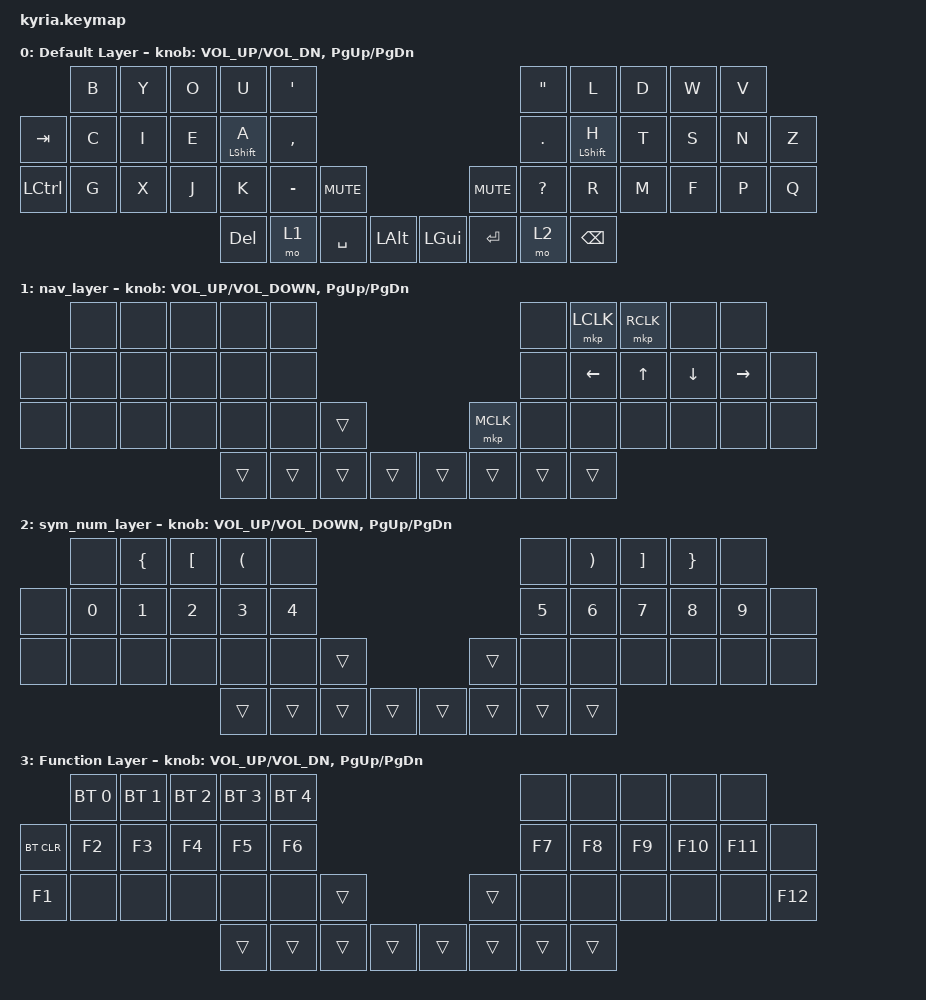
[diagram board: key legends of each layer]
/*
 * Copyright (c) 2020 The ZMK Contributors
 *
 * SPDX-License-Identifier: MIT
 */

#include <behaviors.dtsi>
#include <dt-bindings/zmk/bt.h>
#include <dt-bindings/zmk/keys.h>
#include <dt-bindings/zmk/pointing.h>

/ {
    behaviors {
        hm: homerow_mods {
            compatible = "zmk,behavior-hold-tap";
            label = "HOMEROW_MODS";
            bindings = <&kp>, <&kp>;

            #binding-cells = <2>;
            tapping-term-ms = <150>;
            flavor = "tap-preferred";
        };
    };

    keymap {
        compatible = "zmk,keymap";

        default_layer {
            display-name = "Default Layer";

            // ---------------------------------------------------------------------------------------------------------------------------------
            // |  ESC  |  Q  |  W  |  E   |  R   |  T   |                                          |  Y   |  U    |  I    |  O   |   P   |   \  |
            // |  TAB  |  A  |  S  |  D   |  F   |  G   |                                          |  H   |  J    |  K    |  L   |   ;   |   '  |
            // | SHIFT |  Z  |  X  |  C   |  V   |  B   | L SHIFT | L SHIFT |  | LAYER 1 | L SHIFT |  N   |  M    |  ,    |  .   |   /   | CTRL |
            //                     | GUI  | DEL  | RET  |  SPACE  |   ESC   |  |   RET   |  SPACE  | TAB  | BSPC  | R-ALT |

            bindings = <
                  &kp B  &kp Y  &kp O  &kp U        &kp SQT                                                  &kp DQT       &kp L          &kp D  &kp W  &kp V
&kp TAB           &kp C  &kp I  &kp E  &hm LSHFT A  &kp COMMA                                                &kp DOT       &hm LSHIFT H   &kp T  &kp S  &kp N  &kp Z
&kp LEFT_CONTROL  &kp G  &kp X  &kp J  &kp K        &kp MINUS  &kp K_MUTE                        &kp C_MUTE  &kp QUESTION  &kp R          &kp M  &kp F  &kp P  &kp Q
                                       &kp DEL      &mo 1      &kp SPACE   &kp LALT    &kp LGUI  &kp ENTER   &mo 2         &kp BACKSPACE
            >;

            sensor-bindings = <&inc_dec_kp C_VOL_UP C_VOL_DN &inc_dec_kp PG_UP PG_DN>;
        };

        nav_layer {
            bindings = <
       &none  &none  &none  &none   &none                                        &none   &mkp LCLK  &mkp RCLK  &none     &none
&none  &none  &none  &none  &none   &none                                        &none   &kp LEFT   &kp UP     &kp DOWN  &kp RIGHT  &none
&none  &none  &none  &none  &none   &none   &trans                    &mkp MCLK  &none   &none      &none      &none     &none      &none
                            &trans  &trans  &trans  &trans    &trans  &trans     &trans  &trans
            >;

            sensor-bindings =
                <&inc_dec_kp C_VOLUME_UP C_VOLUME_DOWN>,
                <&inc_dec_kp PG_UP PG_DN>;
        };

        sym_num_layer {
            bindings = <
       &none         &kp LEFT_BRACE  &kp LEFT_BRACKET  &kp LEFT_PARENTHESIS  &none                                           &none   &kp RIGHT_PARENTHESIS  &kp RIGHT_BRACKET  &kp RIGHT_BRACE  &none
&none  &kp NUMBER_0  &kp NUMBER_1    &kp NUMBER_2      &kp NUMBER_3          &kp NUMBER_4                                    &kp N5  &kp NUMBER_6           &kp NUMBER_7       &kp NUMBER_8     &kp NUMBER_9  &none
&none  &none         &none           &none             &none                 &none         &trans                    &trans  &none   &none                  &none              &none            &none         &none
                                                       &trans                &trans        &trans  &trans    &trans  &trans  &trans  &trans
            >;

            sensor-bindings =
                <&inc_dec_kp C_VOLUME_UP C_VOLUME_DOWN>,
                <&inc_dec_kp PG_UP PAGE_DOWN>;
        };

        function_layer {
            display-name = "Function Layer";

            // ---------------------------------------------------------------------------------------------------------------------------------
            // |       |      |BT_CLR|BTSEL0|BTSEL1|BTSEL2|                                         |      |      |      |      |      |      |
            // |       |      |      |BTSEL3|BTSEL4|      |                                         |      |      |      |      |      |      |
            // |       |      |      |      |      |      |      |      |      |      |      |      |      |      |      |      |      |      |
            //                       |      |      |      |      |      |      |      |      |      |      |      |      |

            bindings = <
            &bt BT_SEL 0  &bt BT_SEL 1  &bt BT_SEL 2  &bt BT_SEL 3  &bt BT_SEL 4                                    &none   &none   &none   &none    &none
&bt BT_CLR  &kp F2        &kp F3        &kp F4        &kp F5        &kp F6                                          &kp F7  &kp F8  &kp F9  &kp F10  &kp F11  &none
&kp F1      &none         &none         &none         &none         &none         &trans                    &trans  &none   &none   &none   &none    &none    &kp F12
                                                      &trans        &trans        &trans  &trans    &trans  &trans  &trans  &trans
            >;

            sensor-bindings = <&inc_dec_kp C_VOL_UP C_VOL_DN &inc_dec_kp PG_UP PG_DN>;
        };
    };
};
